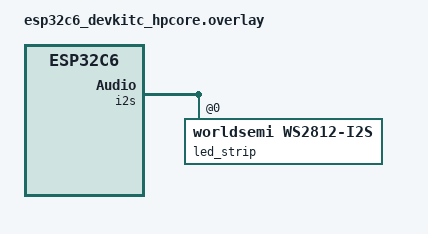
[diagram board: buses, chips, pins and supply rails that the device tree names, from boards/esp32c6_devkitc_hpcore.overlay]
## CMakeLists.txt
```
cmake_minimum_required(VERSION 3.20.0)

find_package(Zephyr REQUIRED HINTS $ENV{ZEPHYR_BASE})
project(g2l_thing)

add_subdirectory(src)
```

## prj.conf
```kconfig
CONFIG_LOG=y
CONFIG_UART_CONSOLE=y
CONFIG_EARLY_CONSOLE=y

CONFIG_SHELL=y
CONFIG_SHELL_BACKEND_SERIAL=y
CONFIG_SHELL_BACKEND_DUMMY=y
CONFIG_SHELL_STACK_SIZE=2048

CONFIG_FLASH=y
CONFIG_FLASH_MAP=y
CONFIG_STREAM_FLASH=y

CONFIG_FILE_SYSTEM=y
CONFIG_FILE_SYSTEM_SHELL=y
CONFIG_FILE_SYSTEM_LITTLEFS=y

CONFIG_REBOOT=y

CONFIG_TEST_RANDOM_GENERATOR=y

CONFIG_MAIN_STACK_SIZE=8192
CONFIG_SHELL_STACK_SIZE=8192
CONFIG_INIT_STACKS=y

CONFIG_WIFI=y
CONFIG_WIFI_NM=y
CONFIG_WIFI_LOG_LEVEL_ERR=y
CONFIG_WIFI_USAGE_MODE_STA_AP=y


# Network Configuration
CONFIG_NETWORKING=y
CONFIG_NET_BUF=y
CONFIG_NET_TX_STACK_SIZE=2048
CONFIG_NET_RX_STACK_SIZE=2048
CONFIG_NET_PKT_RX_COUNT=16
CONFIG_NET_PKT_TX_COUNT=16
CONFIG_NET_BUF_RX_COUNT=20
CONFIG_NET_BUF_TX_COUNT=20
CONFIG_NET_MAX_CONN=16
CONFIG_NET_MAX_CONTEXTS=10
CONFIG_NET_IPV4=y
CONFIG_NET_IPV6=n
CONFIG_NET_LOG=y
CONFIG_NET_SHELL=y
CONFIG_NET_STATISTICS=y
CONFIG_NET_STATISTICS_PERIODIC_OUTPUT=n
CONFIG_NET_CONFIG_AUTO_INIT=n
CONFIG_NET_CONNECTION_MANAGER=y
CONFIG_NET_DHCPV4=y
CONFIG_NET_DHCPV4_SERVER=y
CONFIG_NET_IF_MAX_IPV4_COUNT=2
# CONFIG_NET_IF_MAX_IPV6_COUNT=2
CONFIG_NET_L2_ETHERNET=y
CONFIG_NET_L2_WIFI_MGMT=y
CONFIG_NET_MGMT=y
CONFIG_NET_MGMT_EVENT=y
CONFIG_NET_MGMT_EVENT_INFO=y
CONFIG_NET_MGMT_EVENT_QUEUE_SIZE=10
CONFIG_NET_MGMT_EVENT_STACK_SIZE=4096
CONFIG_NET_SOCKETS_SERVICE_STACK_SIZE=4096
CONFIG_NET_TCP=y
CONFIG_NET_UDP=y
CONFIG_NET_L2_WIFI_SHELL=y
# printing of scan results puts pressure on queues in new locking
# design in net_mgmt. So, use a higher timeout for a crowded
# environment.
CONFIG_NET_MGMT_EVENT_QUEUE_TIMEOUT=5000
CONFIG_NET_MGMT_EVENT_QUEUE_SIZE=16


# mDNS
CONFIG_DNS_RESOLVER=y
CONFIG_MDNS_RESOLVER=y
CONFIG_MDNS_RESPONDER=y

# Hostname
CONFIG_NET_HOSTNAME_ENABLE=y
CONFIG_NET_HOSTNAME="g2l-thing"
CONFIG_ZVFS_POLL_MAX=10

CONFIG_SETTINGS=y
CONFIG_SETTINGS_RUNTIME=y
CONFIG_SETTINGS_SHELL=y
CONFIG_SETTINGS_FILE_PATH="/lfs/settings/run"

CONFIG_BASE64=y
CONFIG_ZCBOR=y
CONFIG_CRC=y

CONFIG_MCUMGR=y
CONFIG_MCUMGR_TRANSPORT_UDP=y
CONFIG_MCUMGR_TRANSPORT_UDP_IPV4=y
CONFIG_MCUMGR_GRP_SHELL=y
CONFIG_MCUMGR_GRP_IMG=y
CONFIG_MCUMGR_GRP_STAT=y
CONFIG_MCUMGR_GRP_OS=y
CONFIG_MCUMGR_GRP_OS_TASKSTAT=y

CONFIG_THREAD_MONITOR=y

CONFIG_STATS=y
CONFIG_STATS_NAMES=y

CONFIG_BOOTLOADER_MCUBOOT=y
CONFIG_IMG_MANAGER=y
CONFIG_MCUBOOT_UTIL_LOG_LEVEL_WRN=y

CONFIG_LED=y
CONFIG_LED_SHELL=y
CONFIG_LED_STRIP=y

CONFIG_GPIO=y
CONFIG_GPIO_SHELL=y
```

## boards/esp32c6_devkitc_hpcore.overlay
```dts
#include <zephyr/dt-bindings/led/led.h>

/ {
	aliases {
		led-strip = &led_strip;
	};
	
	wifi_ap: wifi_ap {
		compatible = "espressif,esp32-wifi";
		status = "okay";
	};
};


&i2s_default {
	group1 {
		pinmux = <I2S_O_SD_GPIO8>;
	};
};

i2s_led: &i2s {
	status = "okay";
	
	dmas = <&dma 3>;
	dma-names = "tx";
	
	led_strip: ws2812@0 {
		compatible = "worldsemi,ws2812-i2s";
		
		reg = <0>;
		chain-length = <1>;
		color-mapping = <LED_COLOR_ID_GREEN
		LED_COLOR_ID_RED
		LED_COLOR_ID_BLUE>;
		reset-delay = <500>;
	};
};

&dma {
	status = "okay";
};
```

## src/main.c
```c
#include <errno.h>
#include <string.h>
#include <zephyr/fs/fs.h>
#include <zephyr/fs/littlefs.h>
#include <zephyr/kernel.h>
#include <zephyr/logging/log.h>
#include <zephyr/settings/settings.h>
#include <zephyr/shell/shell.h>
#include <zephyr/storage/flash_map.h>
#include "rgbled.h"
#include "wifi.h"

LOG_MODULE_REGISTER(g2l_thing, LOG_LEVEL_INF);

#define FS_MOUNT_POINT "/lfs"

FS_LITTLEFS_DECLARE_DEFAULT_CONFIG(storage);
static struct fs_mount_t lfs_storage_mnt = {
    .type = FS_LITTLEFS,
    .fs_data = &storage,
    .storage_dev = (void*)FIXED_PARTITION_ID(storage_partition),
    .mnt_point = FS_MOUNT_POINT,
};

static int storage_init(void) {
    int rc = fs_mount(&lfs_storage_mnt);

    if (rc != 0) {
        LOG_ERR("Error mounting storage (%d)", rc);
        return rc;
    }

    LOG_INF("Storage mounted at %s", FS_MOUNT_POINT);

    rc = settings_subsys_init();
    if (rc != 0) {
        LOG_ERR("Error initializing settings subsystem (%d)", rc);
        return rc;
    }
    return 0;
}

SYS_INIT(storage_init, APPLICATION, CONFIG_APPLICATION_INIT_PRIORITY);

int main(void) {
    LOG_INF("Application started");

    int rc = rgbled_init();
    if (rc != 0) {
        LOG_ERR("RGB LED initialization failed (%d)", rc);
        return rc;
    }

    rc = wifi_init();
    if (rc != 0) {
        LOG_ERR("WiFi initialization failed (%d)", rc);
        return rc;
    }

    while (1) {
        k_sleep(K_SECONDS(1));
    }

    return 0;
}
```

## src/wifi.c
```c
#include <stdio.h>
#include <string.h>
#include <zephyr/fs/fs.h>
#include <zephyr/kernel.h>
#include <zephyr/logging/log.h>
#include <zephyr/net/dhcpv4_server.h>
#include <zephyr/net/wifi_mgmt.h>
#include <zephyr/shell/shell.h>
#include "rgbled.h"

LOG_MODULE_REGISTER(g2l_wifi, LOG_LEVEL_INF);

static struct net_if* sta_iface;
static struct net_if* ap_iface;
static struct wifi_connect_req_params sta_config;
static struct net_mgmt_event_callback cb;

#define LED_BRIGHTNESS 32

#define MACSTR "%02X:%02X:%02X:%02X:%02X:%02X"

#define NET_EVENT_WIFI_MASK                                               \
    (NET_EVENT_WIFI_CONNECT_RESULT | NET_EVENT_WIFI_DISCONNECT_RESULT |   \
     NET_EVENT_WIFI_AP_ENABLE_RESULT | NET_EVENT_WIFI_AP_DISABLE_RESULT | \
     NET_EVENT_WIFI_AP_STA_CONNECTED | NET_EVENT_WIFI_AP_STA_DISCONNECTED)

static bool connect_persistently = true;
static char wifi_ssid[WIFI_SSID_MAX_LEN + 1];
static char wifi_psk[WIFI_PSK_MAX_LEN + 1];

static void wifi_event_handler(struct net_mgmt_event_callback* cb,
                               uint64_t mgmt_event,
                               struct net_if* iface) {
    switch (mgmt_event) {
        case NET_EVENT_WIFI_CONNECT_RESULT: {
            LOG_INF("Connected to network '%s'", wifi_ssid);
            rgbled_set_color(0, 0, LED_BRIGHTNESS,
                             0);  // Set first LED to green
            rgbled_update();
            break;
        }
        case NET_EVENT_WIFI_DISCONNECT_RESULT: {
            if (connect_persistently) {
                LOG_INF("Reconnecting to '%s'", wifi_ssid);
                int ret =
                    net_mgmt(NET_REQUEST_WIFI_CONNECT, sta_iface, &sta_config,
                             sizeof(struct wifi_connect_req_params));
                if (ret) {
                    LOG_ERR("Unable to Connect to (%s)", wifi_ssid);
                }
            } else {
                LOG_INF("Disconnected from %s", wifi_ssid);
            }
            rgbled_set_color(0, LED_BRIGHTNESS, 0, 0);  // Set first LED to red
            rgbled_update();
            break;
        }
        case NET_EVENT_WIFI_AP_ENABLE_RESULT: {
            LOG_INF("AP Mode is enabled. Waiting for station to connect");
            break;
        }
        case NET_EVENT_WIFI_AP_DISABLE_RESULT: {
            LOG_INF("AP Mode is disabled.");
            break;
        }
        case NET_EVENT_WIFI_AP_STA_CONNECTED: {
            struct wifi_ap_sta_info* sta_info =
                (struct wifi_ap_sta_info*)cb->info;

            LOG_INF("station: " MACSTR " joined ", sta_info->mac[0],
                    sta_info->mac[1], sta_info->mac[2], sta_info->mac[3],
                    sta_info->mac[4], sta_info->mac[5]);
            break;
        }
        case NET_EVENT_WIFI_AP_STA_DISCONNECTED: {
            struct wifi_ap_sta_info* sta_info =
                (struct wifi_ap_sta_info*)cb->info;

            LOG_INF("station: " MACSTR " leave ", sta_info->mac[0],
                    sta_info->mac[1], sta_info->mac[2], sta_info->mac[3],
                    sta_info->mac[4], sta_info->mac[5]);
            break;
        }
        default:
            break;
    }
}

static int get_ssid_from_storage(char* ssid, size_t max_len) {
    struct fs_file_t file;
    fs_file_t_init(&file);
    const char* path = "/lfs/wifi_credentials_ssid.txt";
    if (fs_open(&file, path, FS_O_READ) != 0) {
        LOG_ERR("Failed to create file %s", path);
        return -1;
    }
    fs_read(&file, ssid, max_len);
    fs_close(&file);
    return 0;
}

static int get_psk_from_storage(char* psk, size_t max_len) {
    struct fs_file_t file;
    fs_file_t_init(&file);
    const char* path = "/lfs/wifi_credentials_psk.txt";
    if (fs_open(&file, path, FS_O_READ) != 0) {
        return -EIO;
    }
    fs_read(&file, psk, max_len);
    fs_close(&file);
    return 0;
}

static int disconnect_from_wifi(void) {
    int ret = net_mgmt(NET_REQUEST_WIFI_DISCONNECT, sta_iface, NULL, 0);
    if (ret) {
        LOG_ERR("Unable to Disconnect");
        return ret;
    }
    return 0;
}

static int connect_to_wifi(void) {
    int rc = get_ssid_from_storage(wifi_ssid, sizeof(wifi_ssid));
    if (rc != 0) {
        LOG_ERR("Failed to get SSID from storage (%d)", rc);
        return rc;
    }
    rc = get_psk_from_storage(wifi_psk, sizeof(wifi_psk));
    if (rc != 0) {
        LOG_ERR("Failed to get PSK from storage (%d)", rc);
        return rc;
    }

    sta_config.ssid = (const uint8_t*)wifi_ssid;
    sta_config.ssid_length = strlen(wifi_ssid);
    sta_config.psk = (const uint8_t*)wifi_psk;
    sta_config.psk_length = strlen(wifi_psk);
    sta_config.security = WIFI_SECURITY_TYPE_PSK;
    sta_config.channel = WIFI_CHANNEL_ANY;
    sta_config.band = WIFI_FREQ_BAND_2_4_GHZ;

    LOG_INF("Connecting to SSID: '%s'", sta_config.ssid);
    int ret = net_mgmt(NET_REQUEST_WIFI_CONNECT, sta_iface, &sta_config,
                       sizeof(struct wifi_connect_req_params));
    if (ret) {
        LOG_ERR("Unable to Connect to (%s)", wifi_ssid);
        disconnect_from_wifi();
        return ret;
    }
    return 0;
}

int wifi_init(void) {
    rgbled_set_color(0, 0, 0, 0);  // Set first LED to red
    rgbled_update();
    net_mgmt_init_event_callback(&cb, wifi_event_handler, NET_EVENT_WIFI_MASK);
    net_mgmt_add_event_callback(&cb);

    sta_iface = net_if_get_wifi_sta();
    if (!sta_iface) {
        LOG_INF("STA: interface no initialized");
        return -EIO;
    }
    ap_iface = net_if_get_wifi_sap();
    if (!ap_iface) {
        LOG_INF("AP: interface no initialized");
        return -EIO;
    }

    int ret = net_mgmt(NET_REQUEST_WIFI_AP_DISABLE, ap_iface, NULL, 0);
    if (ret) {
        LOG_ERR("NET_REQUEST_WIFI_AP_DISABLE failed, err: %d", ret);
        return ret;
    }

    ret = connect_to_wifi();

    return ret;
}

static int cmd_wifi_set_ssid_psk(const struct shell* sh,
                                 size_t argc,
                                 char** argv) {
    if (argc > 3 || argc < 2) {
        shell_error(sh, "Usage: wifi_set <ssid> <psk>");
        return -EINVAL;
    }

    struct fs_file_t file;
    fs_file_t_init(&file);
    if (fs_open(&file, "/lfs/wifi_credentials_ssid.txt",
                FS_O_WRITE | FS_O_CREATE) != 0) {
        shell_error(sh, "Failed to open SSID file for writing");
        return -EIO;
    }

    fs_write(&file, argv[1], strlen(argv[1]));
    fs_close(&file);

    shell_print(sh, "SSID set to: %s", argv[1]);

    if (argc == 3) {
        fs_file_t_init(&file);
        if (fs_open(&file, "/lfs/wifi_credentials_psk.txt",
                    FS_O_WRITE | FS_O_CREATE) != 0) {
            shell_error(sh, "Failed to open PSK file for writing");
            return -EIO;
        }

        fs_write(&file, argv[2], strlen(argv[2]));
        fs_close(&file);

        shell_print(sh, "PSK set.");
    }

    shell_print(sh, "Reboot to apply changes");

    return 0;
}

static int cmd_wifi_disconnect(const struct shell* sh,
                               size_t argc,
                               char** argv) {
    int ret = disconnect_from_wifi();
    if (ret) {
        shell_error(sh, "Unable to Disconnect");
        return ret;
    }

    shell_print(sh, "Disconnected from WiFi");

    return 0;
}

static int cmd_wifi_connect(const struct shell* sh, size_t argc, char** argv) {
    int ret = connect_to_wifi();
    if (ret) {
        shell_error(sh, "Unable to Connect to WiFi");
        return ret;
    }

    shell_print(sh, "Connecting to WiFi...");

    return 0;
}

static int cmd_wifi_connect_persistent(const struct shell* sh,
                                       size_t argc,
                                       char** argv) {
    if (argc < 2) {
        shell_error(sh, "Usage: wifi_connect_persistent <0|1>");
        return -EINVAL;
    }
    connect_persistently = (strcmp(argv[1], "1") == 0);

    shell_print(sh, "Set to connect %spersistently",
                connect_persistently ? "" : "NOT ");
    return 0;
}

SHELL_CMD_REGISTER(wifi_set_ssid_psk,
                   NULL,
                   "Set WiFi SSID and PSK",
                   cmd_wifi_set_ssid_psk);

SHELL_CMD_REGISTER(wifi_connect, NULL, "Connect to WiFi", cmd_wifi_connect);

SHELL_CMD_REGISTER(wifi_disconnect,
                   NULL,
                   "Disconnect from WiFi",
                   cmd_wifi_disconnect);

SHELL_CMD_REGISTER(wifi_connect_persistent,
                   NULL,
                   "Set to connect persistently",
                   cmd_wifi_connect_persistent);
```

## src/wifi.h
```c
int wifi_init(void);
```
